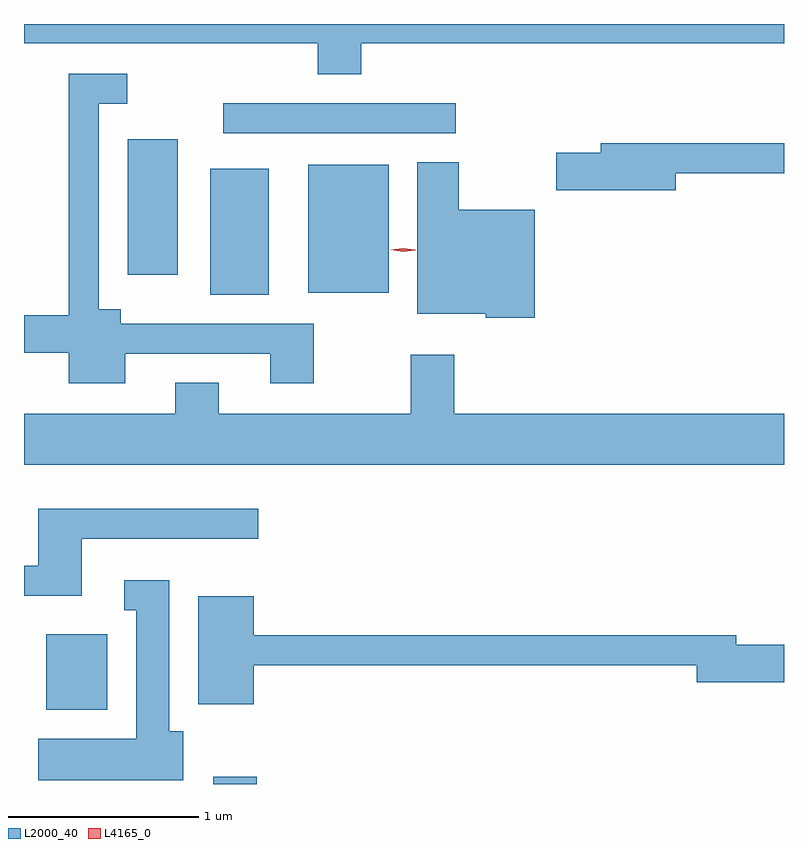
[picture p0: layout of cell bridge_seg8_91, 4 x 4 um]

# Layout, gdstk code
import gdstk
lib = gdstk.Library(unit=1e-6, precision=1e-09)
def R(c, l, rs):  # rectangles x0, y0, x1, y1
    for r in rs: c.add(gdstk.rectangle(r[:2], r[2:], *l))
def P(c, l, *ps):  # polygons
    for p in ps: c.add(gdstk.Polygon(p, *l))
L2000_40 = (2000, 40)
L4165_0 = (4165, 0)

bridge_seg8_91 = lib.new_cell('bridge_seg8_91')
R(bridge_seg8_91, L2000_40, [(1580.981,1868.036,1581.209,1868.074), (1580.101,1868.426,1580.424,1868.824), (1580.966,1870.611,1581.274,1871.274), (1581.481,1870.621,1581.904,1871.294), (1580.531,1870.716,1580.794,1871.429), (1581.033,1871.461,1582.258,1871.619)])
P(bridge_seg8_91, L2000_40, [(1579.985,1871.936),(1581.531,1871.936),(1581.531,1871.771),(1581.759,1871.771),(1581.759,1871.936),(1583.985,1871.936),(1583.985,1872.036),(1579.985,1872.036)],
  [(1580.519,1870.301),(1581.281,1870.301),(1581.281,1870.146),(1581.509,1870.146),(1581.509,1870.459),(1580.494,1870.459),(1580.494,1870.534),(1580.379,1870.534),(1580.379,1871.616),(1580.528,1871.616),(1580.528,1871.774),(1580.221,1871.774),(1580.221,1870.504),(1579.985,1870.504),(1579.985,1870.306),(1580.221,1870.306),(1580.221,1870.146),(1580.519,1870.146)],
  [(1583.414,1871.251),(1583.985,1871.251),(1583.985,1871.409),(1583.021,1871.409),(1583.021,1871.359),(1582.786,1871.359),(1582.786,1871.161),(1583.414,1871.161)],
  [(1582.674,1871.059),(1582.274,1871.059),(1582.274,1871.309),(1582.056,1871.309),(1582.056,1870.511),(1582.416,1870.511),(1582.416,1870.491),(1582.674,1870.491)],
  [(1583.985,1869.984),(1582.249,1869.984),(1582.249,1870.294),(1582.021,1870.294),(1582.021,1869.984),(1581.009,1869.984),(1581.009,1870.149),(1580.781,1870.149),(1580.781,1869.984),(1579.985,1869.984),(1579.985,1869.716),(1583.985,1869.716)],
  [(1580.289,1869.326),(1581.218,1869.326),(1581.218,1869.484),(1580.061,1869.484),(1580.061,1869.184),(1579.985,1869.184),(1579.985,1869.026),(1580.289,1869.026)],
  [(1580.824,1868.314),(1580.749,1868.314),(1580.749,1869.109),(1580.513,1869.109),(1580.513,1868.951),(1580.576,1868.951),(1580.576,1868.274),(1580.061,1868.274),(1580.061,1868.056),(1580.824,1868.056)],
  [(1581.194,1868.661),(1583.526,1868.661),(1583.526,1868.571),(1583.985,1868.571),(1583.985,1868.769),(1583.734,1868.769),(1583.734,1868.819),(1581.194,1868.819),(1581.194,1869.024),(1580.901,1869.024),(1580.901,1868.456),(1581.194,1868.456)])
P(bridge_seg8_91, L4165_0, [(1581.98,1870.837),(1581.914,1870.847),(1581.914,1870.847),(1581.914,1870.848),(1581.98,1870.857),(1582.045,1870.847),(1582.046,1870.846),(1582.045,1870.846)])

lib.write_gds('bridge_seg8_91.gds')
